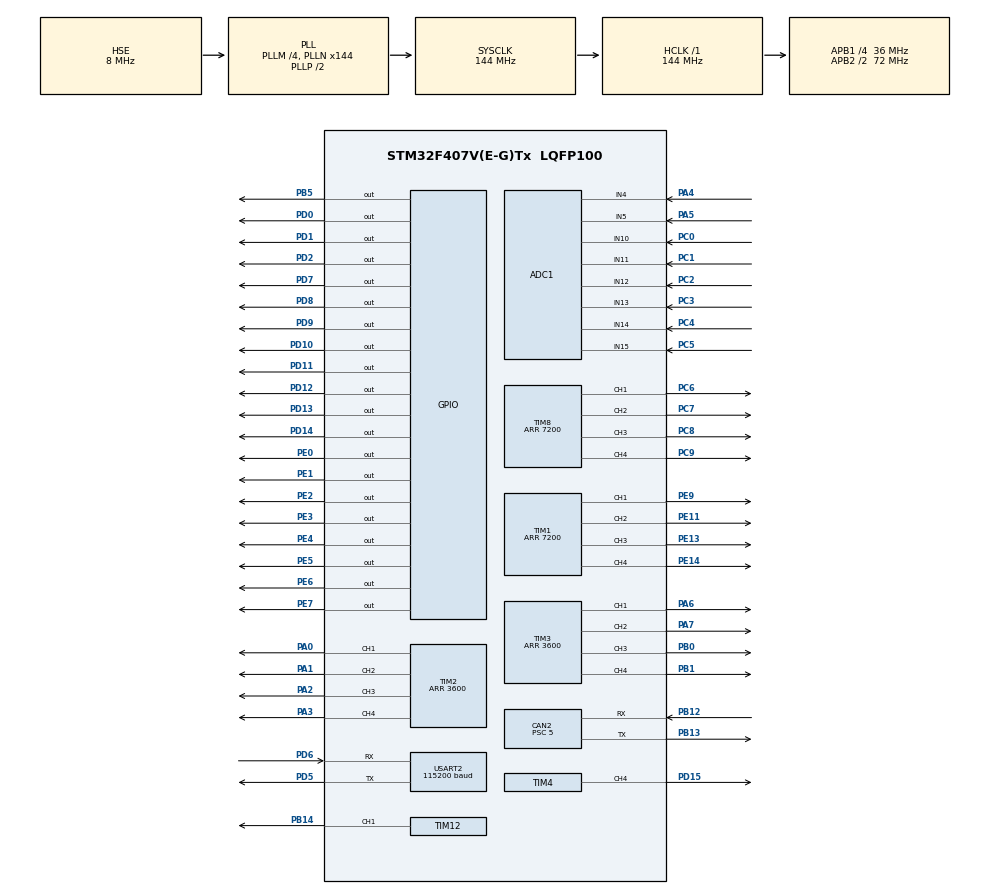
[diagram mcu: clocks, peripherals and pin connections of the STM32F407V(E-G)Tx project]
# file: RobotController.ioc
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PH0-OSC_IN.Signal=RCC_OSC_IN
SH.S_TIM1_CH4.0=TIM1_CH4,PWM Generation4 CH4
ADC1.SamplingTime-6\#ChannelRegularConversion=ADC_SAMPLETIME_3CYCLES
PE1.PinState=GPIO_PIN_SET
TIM8.Channel-PWM\ Generation4\ CH4=TIM_CHANNEL_4
PB13.Signal=CAN2_TX
TIM3.Channel-PWM\ Generation4\ CH4=TIM_CHANNEL_4
ADC1.Channel-8\#ChannelRegularConversion=ADC_CHANNEL_14
RCC.SYSCLKSource=RCC_SYSCLKSOURCE_PLLCLK
ADC1.Channel-5\#ChannelRegularConversion=ADC_CHANNEL_11
TIM2.Pulse-PWM\ Generation3\ CH3=0
TIM8.Pulse-PWM\ Generation4\ CH4=0
RCC.APB2TimFreq_Value=144000000
Dma.ADC1.0.Direction=DMA_PERIPH_TO_MEMORY
ADC1.Channel-2\#ChannelRegularConversion=ADC_CHANNEL_4
PC7.Signal=S_TIM8_CH2
ADC1.InjNumberOfConversion=0
Dma.USART2_TX.1.Mode=DMA_NORMAL
PC3.Signal=ADCx_IN13
PD0.Signal=GPIO_Output
PD8.Signal=GPIO_Output
PE5.Signal=GPIO_Output
PE1.Signal=GPIO_Output
Dma.ADC1.0.MemDataAlignment=DMA_MDATAALIGN_HALFWORD
TIM3.Pulse-PWM\ Generation3\ CH3=0
NVIC.TIM8_TRG_COM_TIM14_IRQn=true\:0\:0\:false\:false\:true\:false\:false\:true
ADC1.ScanConvMode=ENABLE
SH.ADCx_IN15.0=ADC1_IN15,IN15
TIM12.Period=4200
SH.S_TIM12_CH1.0=TIM12_CH1,PWM Generation1 CH1
TIM1.Channel-PWM\ Generation1\ CH1=TIM_CHANNEL_1
PE9.Signal=S_TIM1_CH1
Dma.USART2_TX.1.Instance=DMA1_Stream6
Dma.ADC1.0.PeriphInc=DMA_PINC_DISABLE
NVIC.TIM2_IRQn=true\:5\:0\:false\:false\:true\:true\:true\:true
PE5.PinState=GPIO_PIN_SET
PE2.Signal=GPIO_Output
TIM4.Period=1800
VP_SYS_VS_tim14.Mode=TIM14
VP_TIM1_VS_ClockSourceINT.Mode=Internal
PE6.PinState=GPIO_PIN_SET
Mcu.Package=LQFP100
PB1.Signal=S_TIM3_CH4
TIM8.Channel-PWM\ Generation3\ CH3=TIM_CHANNEL_3
SH.S_TIM8_CH4.0=TIM8_CH4,PWM Generation4 CH4
NVIC.TimeBase=TIM8_TRG_COM_TIM14_IRQn
SH.ADCx_IN14.0=ADC1_IN14,IN14
PD12.Signal=GPIO_Output
TIM8.Pulse-PWM\ Generation3\ CH3=0
NVIC.TimeBaseIP=TIM14
TIM2.Pulse-PWM\ Generation2\ CH2=0
RCC.APB2CLKDivider=RCC_HCLK_DIV2
RCC.APB1TimFreq_Value=72000000
Dma.ADC1.0.FIFOMode=DMA_FIFOMODE_DISABLE
TIM3.Pulse-PWM\ Generation2\ CH2=0
TIM1.Period=7200
PB13.Mode=CAN_Activate
TIM4.Channel-PWM\ Generation4\ CH4=TIM_CHANNEL_4
NVIC.DMA1_Stream6_IRQn=true\:5\:0\:false\:false\:true\:true\:false\:true
PD15.Signal=S_TIM4_CH4
ADC1.Rank-4\#ChannelRegularConversion=3
SH.S_TIM8_CH3.0=TIM8_CH3,PWM Generation3 CH3
CAN2.CalculateBaudRate=800000
NVIC.CAN2_TX_IRQn=true\:5\:0\:false\:false\:true\:true\:true\:true
Dma.ADC1.0.Instance=DMA2_Stream0
FREERTOS.Tasks01=defaultTask,24,128,StartDefaultTask,Default,NULL,Dynamic,NULL,NULL;UARTTx,8,128,StartUARTTx,Default,NULL,Dynamic,NULL,NULL;CANTask,8,128,CANEntry,Default,NULL,Dynamic,NULL,NULL;CfmPacket,8,128,StartCfmPacket,Default,NULL,Dynamic,NULL,NULL;PITask,24,128,StartTaskPI,Default,NULL,Dynamic,NULL,NULL
PD9.PinState=GPIO_PIN_SET
PC2.Signal=ADCx_IN12
PC6.Signal=S_TIM8_CH1
PD7.Signal=GPIO_Output
PD1.Signal=GPIO_Output
PE7.PinState=GPIO_PIN_SET
PC0.Signal=ADCx_IN10
RCC.APB1CLKDivider=RCC_HCLK_DIV4
PD6.Mode=Asynchronous
NVIC.CAN2_RX1_IRQn=true\:5\:0\:false\:false\:true\:true\:true\:true
USART2.BaudRate=115200
SH.S_TIM8_CH2.0=TIM8_CH2,PWM Generation2 CH2
PA0-WKUP.Signal=S_TIM2_CH1_ETR
ADC1.Channel-7\#ChannelRegularConversion=ADC_CHANNEL_13
PD10.Signal=GPIO_Output
TIM3.Channel-PWM\ Generation3\ CH3=TIM_CHANNEL_3
TIM3.Pulse-PWM\ Generation1\ CH1=0
Dma.ADC1.0.Priority=DMA_PRIORITY_LOW
TIM1.Channel-PWM\ Generation2\ CH2=TIM_CHANNEL_2
VP_TIM8_VS_ClockSourceINT.Mode=Internal
PB14.Signal=S_TIM12_CH1
PA5.Signal=ADCx_IN5
PD7.PinState=GPIO_PIN_SET
SH.S_TIM8_CH1.0=TIM8_CH1,PWM Generation1 CH1
TIM4.Pulse-PWM\ Generation4\ CH4=0
PE14.Signal=S_TIM1_CH4
CAN2.Mode=CAN_MODE_NORMAL
SH.ADCx_IN4.0=ADC1_IN4,IN4
TIM2.Period=3600
ADC1.Rank-9\#ChannelRegularConversion=8
TIM8.Period=7200
PA4.Signal=ADCx_IN4
PB5.Signal=GPIO_Output
ADC1.master=1
PD11.Signal=GPIO_Output
PD1.PinState=GPIO_PIN_SET
SH.S_TIM2_CH1_ETR.0=TIM2_CH1,PWM Generation1 CH1
ProjectManager.HeapSize=0x200
ADC1.SamplingTime-5\#ChannelRegularConversion=ADC_SAMPLETIME_3CYCLES
NVIC.TIM1_UP_TIM10_IRQn=true\:5\:0\:false\:false\:true\:true\:true\:true
VP_TIM4_VS_ClockSourceINT.Mode=Internal
SH.ADCx_IN5.0=ADC1_IN5,IN5
NVIC.PriorityGroup=NVIC_PRIORITYGROUP_4
TIM3.Channel-PWM\ Generation2\ CH2=TIM_CHANNEL_2
PE3.Signal=GPIO_Output
PE4.PinState=GPIO_PIN_SET
TIM2.Pulse-PWM\ Generation4\ CH4=0
ADC1.SamplingTime-9\#ChannelRegularConversion=ADC_SAMPLETIME_3CYCLES
Dma.USART2_TX.1.MemDataAlignment=DMA_MDATAALIGN_BYTE
TIM1.Channel-PWM\ Generation3\ CH3=TIM_CHANNEL_3
PD2.Signal=GPIO_Output
PB0.Signal=S_TIM3_CH3
ADC1.Rank-5\#ChannelRegularConversion=4
PC1.Signal=ADCx_IN11
Mcu.Family=STM32F4
RCC.CortexFreq_Value=144000000
FREERTOS.BinarySemaphores01=UARTTrmBinarySem,Dynamic,NULL
NVIC.CAN2_RX0_IRQn=true\:5\:0\:false\:false\:true\:true\:true\:true
ADC1.ContinuousConvMode=DISABLE
CAN2.CalculateTimeBit=1249.99
Dma.USART2_TX.1.MemInc=DMA_MINC_ENABLE
TIM8.Pulse-PWM\ Generation1\ CH1=0
TIM1.Pulse-PWM\ Generation1\ CH1=0
TIM2.Channel-PWM\ Generation2\ CH2=TIM_CHANNEL_2
PD11.PinState=GPIO_PIN_SET
ProjectManager.StackSize=0x400
VP_FREERTOS_VS_CMSIS_V2.Mode=CMSIS_V2
PD13.Signal=GPIO_Output
NVIC.ADC_IRQn=true\:5\:0\:false\:false\:true\:true\:true\:true
TIM1.Channel-PWM\ Generation4\ CH4=TIM_CHANNEL_4
ADC1.Channel-3\#ChannelRegularConversion=ADC_CHANNEL_5
RCC.HCLKFreq_Value=144000000
TIM8.Channel-PWM\ Generation1\ CH1=TIM_CHANNEL_1
TIM3.Period=3600
NVIC.DMA2_Stream0_IRQn=true\:5\:0\:false\:false\:true\:true\:false\:true
RCC.AHBFreq_Value=144000000
PH0-OSC_IN.Mode=HSE-External-Oscillator
PE3.PinState=GPIO_PIN_SET
PD5.Mode=Asynchronous
TIM3.Channel-PWM\ Generation1\ CH1=TIM_CHANNEL_1
RCC.HSE_VALUE=8000000
ADC1.SamplingTime-4\#ChannelRegularConversion=ADC_SAMPLETIME_3CYCLES
ADC1.Channel-6\#ChannelRegularConversion=ADC_CHANNEL_12
ADC1.Rank-2\#ChannelRegularConversion=1
PE13.Signal=S_TIM1_CH3
PD0.PinState=GPIO_PIN_SET
CAN2.Prescaler=5
VP_TIM12_VS_ClockSourceINT.Mode=Internal
TIM2.Channel-PWM\ Generation1\ CH1=TIM_CHANNEL_1
SH.S_TIM3_CH1.0=TIM3_CH1,PWM Generation1 CH1
PE4.Signal=GPIO_Output
PH1-OSC_OUT.Mode=HSE-External-Oscillator
TIM8.Pulse-PWM\ Generation2\ CH2=0
PA6.Signal=S_TIM3_CH1
PB12.Mode=CAN_Activate
CAN2.BS1=CAN_BS1_4TQ
CAN2.BS2=CAN_BS2_4TQ
TIM1.Pulse-PWM\ Generation2\ CH2=0
USART2.VirtualMode=VM_ASYNC
TIM8.Channel-PWM\ Generation2\ CH2=TIM_CHANNEL_2
Dma.Request1=USART2_TX
PC5.Signal=ADCx_IN15
PE7.Signal=GPIO_Output
PD6.Signal=USART2_RX
Dma.Request0=ADC1
ADC1.Rank-6\#ChannelRegularConversion=5
ADC1.SamplingTime-8\#ChannelRegularConversion=ADC_SAMPLETIME_3CYCLES
VP_TIM3_VS_ClockSourceINT.Mode=Internal
PA3.Signal=S_TIM2_CH4
RCC.PLLSourceVirtual=RCC_PLLSOURCE_HSE
Dma.USART2_TX.1.Priority=DMA_PRIORITY_LOW
TIM2.Channel-PWM\ Generation4\ CH4=TIM_CHANNEL_4
SH.ADCx_IN13.0=ADC1_IN13,IN13
ADC1.Channel-4\#ChannelRegularConversion=ADC_CHANNEL_10
Dma.USART2_TX.1.FIFOMode=DMA_FIFOMODE_DISABLE
PE2.PinState=GPIO_PIN_SET
SH.S_TIM4_CH4.0=TIM4_CH4,PWM Generation4 CH4
ADC1.Rank-8\#ChannelRegularConversion=7
PC8.Signal=S_TIM8_CH3
PC4.Signal=ADCx_IN14
PD9.Signal=GPIO_Output
PD5.Signal=USART2_TX
SH.S_TIM3_CH3.0=TIM3_CH3,PWM Generation3 CH3
Dma.USART2_TX.1.PeriphDataAlignment=DMA_PDATAALIGN_BYTE
NVIC.USART2_IRQn=true\:5\:0\:false\:false\:true\:true\:true\:true
ADC1.SamplingTime-2\#ChannelRegularConversion=ADC_SAMPLETIME_3CYCLES
TIM12.Pulse-PWM\ Generation1\ CH1=3000
TIM2.Pulse-PWM\ Generation1\ CH1=0
TIM1.Pulse-PWM\ Generation3\ CH3=0
SH.S_TIM2_CH2.0=TIM2_CH2,PWM Generation2 CH2
Dma.ADC1.0.PeriphDataAlignment=DMA_PDATAALIGN_HALFWORD
SH.ADCx_IN12.0=ADC1_IN12,IN12
PE0.PinState=GPIO_PIN_SET
SH.S_TIM1_CH1.0=TIM1_CH1,PWM Generation1 CH1
ProjectManager.TargetToolchain=STM32CubeIDE
Dma.ADC1.0.Mode=DMA_NORMAL
TIM4.Prescaler=10
PE11.Signal=S_TIM1_CH2
RCC.LSE_VALUE=32768
PA1.Signal=S_TIM2_CH2
SH.S_TIM3_CH2.0=TIM3_CH2,PWM Generation2 CH2
PD2.PinState=GPIO_PIN_SET
Dma.USART2_TX.1.PeriphInc=DMA_PINC_DISABLE
board=custom
RCC.VCOOutputFreq_Value=288000000
Dma.USART2_TX.1.Direction=DMA_MEMORY_TO_PERIPH
TIM12.Channel-PWM\ Generation1\ CH1=TIM_CHANNEL_1
RCC.APB2Freq_Value=72000000
SH.ADCx_IN11.0=ADC1_IN11,IN11
SH.S_TIM1_CH2.0=TIM1_CH2,PWM Generation2 CH2
VP_TIM2_VS_ClockSourceINT.Mode=Internal
SH.S_TIM2_CH3.0=TIM2_CH3,PWM Generation3 CH3
CAN2.CalculateTimeQuantum=138.88888888888889
TIM2.Channel-PWM\ Generation3\ CH3=TIM_CHANNEL_3
PH1-OSC_OUT.Signal=RCC_OSC_OUT
PE6.Signal=GPIO_Output
ADC1.NbrOfConversion=8
Mcu.Name=STM32F407V(E-G)Tx
PE0.Signal=GPIO_Output
PA2.Signal=S_TIM2_CH3
ADC1.Channel-9\#ChannelRegularConversion=ADC_CHANNEL_15
PD14.Signal=GPIO_Output
RCC.48MHZClocksFreq_Value=72000000
RCC.SYSCLKFreq_VALUE=144000000
ADC1.Rank-3\#ChannelRegularConversion=2
ADC1.SamplingTime-3\#ChannelRegularConversion=ADC_SAMPLETIME_3CYCLES
Dma.ADC1.0.MemInc=DMA_MINC_ENABLE
SH.ADCx_IN10.0=ADC1_IN10,IN10
SH.S_TIM2_CH4.0=TIM2_CH4,PWM Generation4 CH4
SH.S_TIM1_CH3.0=TIM1_CH3,PWM Generation3 CH3
TIM1.Pulse-PWM\ Generation4\ CH4=0
PD10.PinState=GPIO_PIN_SET
RCC.HSI_VALUE=16000000
ADC1.Rank-7\#ChannelRegularConversion=6
ADC1.NbrOfConversionFlag=1
RCC.PLLM=4
RCC.PLLN=144
PC9.Signal=S_TIM8_CH4
ADC1.SamplingTime-7\#ChannelRegularConversion=ADC_SAMPLETIME_3CYCLES
RCC.APB1Freq_Value=36000000
PD8.PinState=GPIO_PIN_SET
TIM3.Pulse-PWM\ Generation4\ CH4=0
PB12.Signal=CAN2_RX
SH.S_TIM3_CH4.0=TIM3_CH4,PWM Generation4 CH4
PA7.Signal=S_TIM3_CH2

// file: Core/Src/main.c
/* USER CODE BEGIN Header */
/**
 ******************************************************************************
 * @file           : main.c
 * @brief          : Main program body
 ******************************************************************************
 * @attention
 *
 * <h2><center>&copy; Copyright (c) 2021 STMicroelectronics.
 * All rights reserved.</center></h2>
 *
 * This software component is licensed by ST under BSD 3-Clause license,
 * the "License"; You may not use this file except in compliance with the
 * License. You may obtain a copy of the License at:
 *                        opensource.org/licenses/BSD-3-Clause
 *
 ******************************************************************************
 */
/* USER CODE END Header */
#include "main.h"
#include "cmsis_os.h"

ADC_HandleTypeDef hadc1;
DMA_HandleTypeDef hdma_adc1;

CAN_HandleTypeDef hcan2;

TIM_HandleTypeDef htim1;
TIM_HandleTypeDef htim2;
TIM_HandleTypeDef htim3;
TIM_HandleTypeDef htim4;
TIM_HandleTypeDef htim8;
TIM_HandleTypeDef htim12;

UART_HandleTypeDef huart2;
DMA_HandleTypeDef hdma_usart2_tx;

/* Definitions for defaultTask */
osThreadId_t defaultTaskHandle;
const osThreadAttr_t defaultTask_attributes = { .name = "defaultTask",
		.stack_size = 128 * 4, .priority = (osPriority_t) osPriorityNormal, };
/* Definitions for UARTTx */
osThreadId_t UARTTxHandle;
const osThreadAttr_t UARTTx_attributes = { .name = "UARTTx", .stack_size = 128
		* 4, .priority = (osPriority_t) osPriorityLow, };
/* Definitions for CANTask */
osThreadId_t CANTaskHandle;
const osThreadAttr_t CANTask_attributes = { .name = "CANTask", .stack_size = 128
		* 4, .priority = (osPriority_t) osPriorityLow, };
/* Definitions for CfmPacket */
osThreadId_t CfmPacketHandle;
const osThreadAttr_t CfmPacket_attributes = { .name = "CfmPacket", .stack_size =
		128 * 4, .priority = (osPriority_t) osPriorityLow, };
/* Definitions for PITask */
osThreadId_t PITaskHandle;
const osThreadAttr_t PITask_attributes = { .name = "PITask", .stack_size = 128
		* 4, .priority = (osPriority_t) osPriorityNormal, };
/* Definitions for UARTTrmBinarySem */
osSemaphoreId_t UARTTrmBinarySemHandle;
const osSemaphoreAttr_t UARTTrmBinarySem_attributes = { .name =
		"UARTTrmBinarySem" };
/* USER CODE BEGIN PV */
uint32_t adcResult;
uint16_t adcData[30];
uint8_t UART2TransmittArray[256];
uint8_t Tmp = 1;
float Tilt1X, Tilt1Y, Gyro1, Gyro1Y;
float Tilt2X, Tilt2Y, Gyro2, Gyro2Y;
float Tilt3X, Tilt3Y, Gyro3;
float Tilt4X, Tilt4Y, Gyro4;
float Tilt5X, Tilt5Y, Gyro5, Gyro5Y;
float Tilt6X, Tilt6Y, Gyro6;
float Tilt7X, Tilt7Y, Gyro7;
uint16_t KGyro1;
uint8_t Starting = 1;
/* USER CODE END PV */

void SystemClock_Config(void);
static void MX_GPIO_Init(void);
static void MX_DMA_Init(void);
static void MX_TIM1_Init(void);
static void MX_TIM2_Init(void);
static void MX_TIM3_Init(void);
static void MX_TIM8_Init(void);
static void MX_ADC1_Init(void);
static void MX_USART2_UART_Init(void);
static void MX_TIM12_Init(void);
static void MX_CAN2_Init(void);
static void MX_TIM4_Init(void);
void StartDefaultTask(void *argument);
void StartUARTTx(void *argument);
void CANEntry(void *argument);
void StartCfmPacket(void *argument);
void StartTaskPI(void *argument);

int main(void) {

	/* MCU Configuration--------------------------------------------------------*/

	/* Reset of all peripherals, Initializes the Flash interface and the Systick. */
	HAL_Init();

	/* Configure the system clock */
	SystemClock_Config();

	/* Initialize all configured peripherals */
	MX_GPIO_Init();
	MX_DMA_Init();
	MX_TIM1_Init();
	MX_TIM2_Init();
	MX_TIM3_Init();
	MX_TIM8_Init();
	MX_ADC1_Init();
	MX_USART2_UART_Init();
	MX_TIM12_Init();
	MX_CAN2_Init();
	MX_TIM4_Init();
	/* USER CODE BEGIN 2 */
	//HAL_GPIO_WritePin(GPIOD, GPIO_PIN_11,SET);
	PWM_Off();
	SetBuzzerFRQ(1000, 500);
	/* USER CODE END 2 */

	/* Init scheduler */
	osKernelInitialize();

	/* Create the semaphores(s) */
	/* creation of UARTTrmBinarySem */
	UARTTrmBinarySemHandle = osSemaphoreNew(1, 1, &UARTTrmBinarySem_attributes);

	/* Create the thread(s) */
	/* creation of defaultTask */
	defaultTaskHandle = osThreadNew(StartDefaultTask, NULL,
			&defaultTask_attributes);

	/* creation of UARTTx */
	UARTTxHandle = osThreadNew(StartUARTTx, NULL, &UARTTx_attributes);

	/* creation of CANTask */
	CANTaskHandle = osThreadNew(CANEntry, NULL, &CANTask_attributes);

	/* creation of CfmPacket */
	CfmPacketHandle = osThreadNew(StartCfmPacket, NULL, &CfmPacket_attributes);

	/* creation of PITask */
	PITaskHandle = osThreadNew(StartTaskPI, NULL, &PITask_attributes);

	/* Start scheduler */
	osKernelStart();

	/* We should never get here as control is now taken by the scheduler */
	/* Infinite loop */
	while (1) {

	}
}

void SystemClock_Config(void) {
	RCC_OscInitTypeDef RCC_OscInitStruct = { 0 };
	RCC_ClkInitTypeDef RCC_ClkInitStruct = { 0 };

	/** Configure the main internal regulator output voltage
	 */
	__HAL_RCC_PWR_CLK_ENABLE();
	__HAL_PWR_VOLTAGESCALING_CONFIG(PWR_REGULATOR_VOLTAGE_SCALE1);
	/** Initializes the RCC Oscillators according to the specified parameters
	 * in the RCC_OscInitTypeDef structure.
	 */
	RCC_OscInitStruct.OscillatorType = RCC_OSCILLATORTYPE_HSE;
	RCC_OscInitStruct.HSEState = RCC_HSE_ON;
	RCC_OscInitStruct.PLL.PLLState = RCC_PLL_ON;
	RCC_OscInitStruct.PLL.PLLSource = RCC_PLLSOURCE_HSE;
	RCC_OscInitStruct.PLL.PLLM = 4;
	RCC_OscInitStruct.PLL.PLLN = 144;
	RCC_OscInitStruct.PLL.PLLP = RCC_PLLP_DIV2;
	RCC_OscInitStruct.PLL.PLLQ = 4;
	if (HAL_RCC_OscConfig(&RCC_OscInitStruct) != HAL_OK) {
		Error_Handler();
	}
	/** Initializes the CPU, AHB and APB buses clocks
	 */
	RCC_ClkInitStruct.ClockType = RCC_CLOCKTYPE_HCLK | RCC_CLOCKTYPE_SYSCLK
			| RCC_CLOCKTYPE_PCLK1 | RCC_CLOCKTYPE_PCLK2;
	RCC_ClkInitStruct.SYSCLKSource = RCC_SYSCLKSOURCE_PLLCLK;
	RCC_ClkInitStruct.AHBCLKDivider = RCC_SYSCLK_DIV1;
	RCC_ClkInitStruct.APB1CLKDivider = RCC_HCLK_DIV4;
	RCC_ClkInitStruct.APB2CLKDivider = RCC_HCLK_DIV2;

	if (HAL_RCC_ClockConfig(&RCC_ClkInitStruct, FLASH_LATENCY_4) != HAL_OK) {
		Error_Handler();
	}
}

static void MX_ADC1_Init(void) {

	ADC_ChannelConfTypeDef sConfig = { 0 };

	/** Configure the global features of the ADC (Clock, Resolution, Data Alignment and number of conversion)
	 */
	hadc1.Instance = ADC1;
	hadc1.Init.ClockPrescaler = ADC_CLOCK_SYNC_PCLK_DIV2;
	hadc1.Init.Resolution = ADC_RESOLUTION_12B;
	hadc1.Init.ScanConvMode = ENABLE;
	hadc1.Init.ContinuousConvMode = DISABLE;
	hadc1.Init.DiscontinuousConvMode = DISABLE;
	hadc1.Init.ExternalTrigConvEdge = ADC_EXTERNALTRIGCONVEDGE_NONE;
	hadc1.Init.ExternalTrigConv = ADC_SOFTWARE_START;
	hadc1.Init.DataAlign = ADC_DATAALIGN_RIGHT;
	hadc1.Init.NbrOfConversion = 8;
	hadc1.Init.DMAContinuousRequests = DISABLE;
	hadc1.Init.EOCSelection = ADC_EOC_SINGLE_CONV;
	if (HAL_ADC_Init(&hadc1) != HAL_OK) {
		Error_Handler();
	}
	/** Configure for the selected ADC regular channel its corresponding rank in the sequencer and its sample time.
	 */
	sConfig.Channel = ADC_CHANNEL_4;
	sConfig.Rank = 1;
	sConfig.SamplingTime = ADC_SAMPLETIME_3CYCLES;
	if (HAL_ADC_ConfigChannel(&hadc1, &sConfig) != HAL_OK) {
		Error_Handler();
	}
	/** Configure for the selected ADC regular channel its corresponding rank in the sequencer and its sample time.
	 */
	sConfig.Channel = ADC_CHANNEL_5;
	sConfig.Rank = 2;
	if (HAL_ADC_ConfigChannel(&hadc1, &sConfig) != HAL_OK) {
		Error_Handler();
	}
	/** Configure for the selected ADC regular channel its corresponding rank in the sequencer and its sample time.
	 */
	sConfig.Channel = ADC_CHANNEL_10;
	sConfig.Rank = 3;
	if (HAL_ADC_ConfigChannel(&hadc1, &sConfig) != HAL_OK) {
		Error_Handler();
	}
	/** Configure for the selected ADC regular channel its corresponding rank in the sequencer and its sample time.
	 */
	sConfig.Channel = ADC_CHANNEL_11;
	sConfig.Rank = 4;
	if (HAL_ADC_ConfigChannel(&hadc1, &sConfig) != HAL_OK) {
		Error_Handler();
	}
	/** Configure for the selected ADC regular channel its corresponding rank in the sequencer and its sample time.
	 */
	sConfig.Channel = ADC_CHANNEL_12;
	sConfig.Rank = 5;
	if (HAL_ADC_ConfigChannel(&hadc1, &sConfig) != HAL_OK) {
		Error_Handler();
	}
	/** Configure for the selected ADC regular channel its corresponding rank in the sequencer and its sample time.
	 */
	sConfig.Channel = ADC_CHANNEL_13;
	sConfig.Rank = 6;
	if (HAL_ADC_ConfigChannel(&hadc1, &sConfig) != HAL_OK) {
		Error_Handler();
	}
	/** Configure for the selected ADC regular channel its corresponding rank in the sequencer and its sample time.
	 */
	sConfig.Channel = ADC_CHANNEL_14;
	sConfig.Rank = 7;
	if (HAL_ADC_ConfigChannel(&hadc1, &sConfig) != HAL_OK) {
		Error_Handler();
	}
	/** Configure for the selected ADC regular channel its corresponding rank in the sequencer and its sample time.
	 */
	sConfig.Channel = ADC_CHANNEL_15;
	sConfig.Rank = 8;
	if (HAL_ADC_ConfigChannel(&hadc1, &sConfig) != HAL_OK) {
		Error_Handler();
	}
	/* USER CODE BEGIN ADC1_Init 2 */
	hadc1.Instance->CR1 |= ADC_CR1_EOCIE;
	/* USER CODE END ADC1_Init 2 */

}

static void MX_CAN2_Init(void) {

	/* USER CODE BEGIN CAN2_Init 1 */
	//hcan2.Init.Mode = CAN_MODE_LOOPBACK;
	/* USER CODE END CAN2_Init 1 */
	hcan2.Instance = CAN2;
	hcan2.Init.Prescaler = 5;
	hcan2.Init.Mode = CAN_MODE_NORMAL;
	hcan2.Init.SyncJumpWidth = CAN_SJW_1TQ;
	hcan2.Init.TimeSeg1 = CAN_BS1_4TQ;
	hcan2.Init.TimeSeg2 = CAN_BS2_4TQ;
	hcan2.Init.TimeTriggeredMode = DISABLE;
	hcan2.Init.AutoBusOff = DISABLE;
	hcan2.Init.AutoWakeUp = DISABLE;
	hcan2.Init.AutoRetransmission = DISABLE;
	hcan2.Init.ReceiveFifoLocked = DISABLE;
	hcan2.Init.TransmitFifoPriority = DISABLE;
	if (HAL_CAN_Init(&hcan2) != HAL_OK) {
		Error_Handler();
	}
	/* USER CODE BEGIN CAN2_Init 2 */

	/*
	 CAN_FilterTypeDef canFilterConfig;
	 canFilterConfig.FilterBank = 0;
	 canFilterConfig.FilterMode = CAN_FILTERMODE_IDMASK;
	 canFilterConfig.FilterScale = CAN_FILTERSCALE_32BIT;
	 canFilterConfig.FilterIdHigh = 0x0300;
	 canFilterConfig.FilterIdLow = 0x0000;
	 canFilterConfig.FilterMaskIdHigh = 0x0000;
	 canFilterConfig.FilterMaskIdLow = 0x0000;
	 canFilterConfig.FilterFIFOAssignment = CAN_RX_FIFO1;
	 canFilterConfig.FilterActivation = ENABLE;
	 canFilterConfig.SlaveStartFilterBank = 14;
	 HAL_CAN_ConfigFilter(&hcan2, &canFilterConfig);

	 HAL_CAN_Start(&hcan2);
	 HAL_CAN_ActivateNotification(&hcan2, CAN_IT_RX_FIFO1_MSG_PENDING);
	 */

	CAN_Config(&hcan2, 0);

	/* USER CODE END CAN2_Init 2 */

}

static void MX_TIM1_Init(void) {

	TIM_ClockConfigTypeDef sClockSourceConfig = { 0 };
	TIM_MasterConfigTypeDef sMasterConfig = { 0 };
	TIM_OC_InitTypeDef sConfigOC = { 0 };
	TIM_BreakDeadTimeConfigTypeDef sBreakDeadTimeConfig = { 0 };

	htim1.Instance = TIM1;
	htim1.Init.Prescaler = 0;
	htim1.Init.CounterMode = TIM_COUNTERMODE_UP;
	htim1.Init.Period = 7200;
	htim1.Init.ClockDivision = TIM_CLOCKDIVISION_DIV1;
	htim1.Init.RepetitionCounter = 0;
	htim1.Init.AutoReloadPreload = TIM_AUTORELOAD_PRELOAD_DISABLE;
	if (HAL_TIM_Base_Init(&htim1) != HAL_OK) {
		Error_Handler();
	}
	sClockSourceConfig.ClockSource = TIM_CLOCKSOURCE_INTERNAL;
	if (HAL_TIM_ConfigClockSource(&htim1, &sClockSourceConfig) != HAL_OK) {
		Error_Handler();
	}
	if (HAL_TIM_PWM_Init(&htim1) != HAL_OK) {
		Error_Handler();
	}
	sMasterConfig.MasterOutputTrigger = TIM_TRGO_RESET;
	sMasterConfig.MasterSlaveMode = TIM_MASTERSLAVEMODE_DISABLE;
	if (HAL_TIMEx_MasterConfigSynchronization(&htim1, &sMasterConfig)
			!= HAL_OK) {
		Error_Handler();
	}
	sConfigOC.OCMode = TIM_OCMODE_PWM1;
	sConfigOC.Pulse = 0;
	sConfigOC.OCPolarity = TIM_OCPOLARITY_HIGH;
	sConfigOC.OCNPolarity = TIM_OCNPOLARITY_HIGH;
	sConfigOC.OCFastMode = TIM_OCFAST_DISABLE;
	sConfigOC.OCIdleState = TIM_OCIDLESTATE_RESET;
	sConfigOC.OCNIdleState = TIM_OCNIDLESTATE_RESET;
	if (HAL_TIM_PWM_ConfigChannel(&htim1, &sConfigOC, TIM_CHANNEL_1)
			!= HAL_OK) {
		Error_Handler();
	}
	if (HAL_TIM_PWM_ConfigChannel(&htim1, &sConfigOC, TIM_CHANNEL_2)
			!= HAL_OK) {
		Error_Handler();
	}
	if (HAL_TIM_PWM_ConfigChannel(&htim1, &sConfigOC, TIM_CHANNEL_3)
			!= HAL_OK) {
		Error_Handler();
	}
	if (HAL_TIM_PWM_ConfigChannel(&htim1, &sConfigOC, TIM_CHANNEL_4)
			!= HAL_OK) {
		Error_Handler();
	}
	sBreakDeadTimeConfig.OffStateRunMode = TIM_OSSR_DISABLE;
	sBreakDeadTimeConfig.OffStateIDLEMode = TIM_OSSI_DISABLE;
	sBreakDeadTimeConfig.LockLevel = TIM_LOCKLEVEL_OFF;
	sBreakDeadTimeConfig.DeadTime = 0;
	sBreakDeadTimeConfig.BreakState = TIM_BREAK_DISABLE;
	sBreakDeadTimeConfig.BreakPolarity = TIM_BREAKPOLARITY_HIGH;
	sBreakDeadTimeConfig.AutomaticOutput = TIM_AUTOMATICOUTPUT_DISABLE;
	if (HAL_TIMEx_ConfigBreakDeadTime(&htim1, &sBreakDeadTimeConfig)
			!= HAL_OK) {
		Error_Handler();
	}
	/* USER CODE BEGIN TIM1_Init 2 */

	// TIM1->CR1=0x1;
	htim1.Instance->CR1 |= TIM_CR1_CEN;
	htim1.Instance->BDTR |= TIM_BDTR_MOE;
	htim1.Instance->CCER |= TIM_CCER_CC1E;
	htim1.Instance->CCER |= TIM_CCER_CC2E;
	htim1.Instance->CCER |= TIM_CCER_CC3E;
	htim1.Instance->CCER |= TIM_CCER_CC4E;

	/* USER CODE END TIM1_Init 2 */
	HAL_TIM_MspPostInit(&htim1);

}

static void MX_TIM2_Init(void) {

	TIM_ClockConfigTypeDef sClockSourceConfig = { 0 };
	TIM_MasterConfigTypeDef sMasterConfig = { 0 };
	TIM_OC_InitTypeDef sConfigOC = { 0 };

	htim2.Instance = TIM2;
	htim2.Init.Prescaler = 0;
	htim2.Init.CounterMode = TIM_COUNTERMODE_UP;
	htim2.Init.Period = 3600;
	htim2.Init.ClockDivision = TIM_CLOCKDIVISION_DIV1;
	htim2.Init.AutoReloadPreload = TIM_AUTORELOAD_PRELOAD_DISABLE;
	if (HAL_TIM_Base_Init(&htim2) != HAL_OK) {
		Error_Handler();
	}
	sClockSourceConfig.ClockSource = TIM_CLOCKSOURCE_INTERNAL;
	if (HAL_TIM_ConfigClockSource(&htim2, &sClockSourceConfig) != HAL_OK) {
		Error_Handler();
	}
	if (HAL_TIM_PWM_Init(&htim2) != HAL_OK) {
		Error_Handler();
	}
	sMasterConfig.MasterOutputTrigger = TIM_TRGO_RESET;
	sMasterConfig.MasterSlaveMode = TIM_MASTERSLAVEMODE_DISABLE;
	if (HAL_TIMEx_MasterConfigSynchronization(&htim2, &sMasterConfig)
			!= HAL_OK) {
		Error_Handler();
	}
	sConfigOC.OCMode = TIM_OCMODE_PWM1;
	sConfigOC.Pulse = 0;
	sConfigOC.OCPolarity = TIM_OCPOLARITY_HIGH;
	sConfigOC.OCFastMode = TIM_OCFAST_DISABLE;
	if (HAL_TIM_PWM_ConfigChannel(&htim2, &sConfigOC, TIM_CHANNEL_1)
			!= HAL_OK) {
		Error_Handler();
	}
	if (HAL_TIM_PWM_ConfigChannel(&htim2, &sConfigOC, TIM_CHANNEL_2)
			!= HAL_OK) {
		Error_Handler();
	}
	if (HAL_TIM_PWM_ConfigChannel(&htim2, &sConfigOC, TIM_CHANNEL_3)
			!= HAL_OK) {
		Error_Handler();
	}
	if (HAL_TIM_PWM_ConfigChannel(&htim2, &sConfigOC, TIM_CHANNEL_4)
			!= HAL_OK) {
		Error_Handler();
	}
	/* USER CODE BEGIN TIM2_Init 2 */

	htim2.Instance->CR1 |= TIM_CR1_CEN;
	htim2.Instance->BDTR |= TIM_BDTR_MOE;
	htim2.Instance->CCER |= TIM_CCER_CC1E;
	htim2.Instance->CCER |= TIM_CCER_CC2E;
	htim2.Instance->CCER |= TIM_CCER_CC3E;
	htim2.Instance->CCER |= TIM_CCER_CC4E;

	/* USER CODE END TIM2_Init 2 */
	HAL_TIM_MspPostInit(&htim2);

}

static void MX_TIM3_Init(void) {

	TIM_ClockConfigTypeDef sClockSourceConfig = { 0 };
	TIM_MasterConfigTypeDef sMasterConfig = { 0 };
	TIM_OC_InitTypeDef sConfigOC = { 0 };

	htim3.Instance = TIM3;
	htim3.Init.Prescaler = 0;
	htim3.Init.CounterMode = TIM_COUNTERMODE_UP;
	htim3.Init.Period = 3600;
	htim3.Init.ClockDivision = TIM_CLOCKDIVISION_DIV1;
	htim3.Init.AutoReloadPreload = TIM_AUTORELOAD_PRELOAD_DISABLE;
	if (HAL_TIM_Base_Init(&htim3) != HAL_OK) {
		Error_Handler();
	}
	sClockSourceConfig.ClockSource = TIM_CLOCKSOURCE_INTERNAL;
	if (HAL_TIM_ConfigClockSource(&htim3, &sClockSourceConfig) != HAL_OK) {
		Error_Handler();
	}
	if (HAL_TIM_PWM_Init(&htim3) != HAL_OK) {
		Error_Handler();
	}
	sMasterConfig.MasterOutputTrigger = TIM_TRGO_RESET;
	sMasterConfig.MasterSlaveMode = TIM_MASTERSLAVEMODE_DISABLE;
	if (HAL_TIMEx_MasterConfigSynchronization(&htim3, &sMasterConfig)
			!= HAL_OK) {
		Error_Handler();
	}
	sConfigOC.OCMode = TIM_OCMODE_PWM1;
	sConfigOC.Pulse = 0;
	sConfigOC.OCPolarity = TIM_OCPOLARITY_HIGH;
	sConfigOC.OCFastMode = TIM_OCFAST_DISABLE;
	if (HAL_TIM_PWM_ConfigChannel(&htim3, &sConfigOC, TIM_CHANNEL_1)
			!= HAL_OK) {
		Error_Handler();
	}
	if (HAL_TIM_PWM_ConfigChannel(&htim3, &sConfigOC, TIM_CHANNEL_2)
			!= HAL_OK) {
		Error_Handler();
	}
	if (HAL_TIM_PWM_ConfigChannel(&htim3, &sConfigOC, TIM_CHANNEL_3)
			!= HAL_OK) {
		Error_Handler();
	}
	if (HAL_TIM_PWM_ConfigChannel(&htim3, &sConfigOC, TIM_CHANNEL_4)
			!= HAL_OK) {
		Error_Handler();
	}
	/* USER CODE BEGIN TIM3_Init 2 */
	htim3.Instance->CR1 |= TIM_CR1_CEN;
	htim3.Instance->BDTR |= TIM_BDTR_MOE;
	htim3.Instance->CCER |= TIM_CCER_CC1E;
	htim3.Instance->CCER |= TIM_CCER_CC2E;
	htim3.Instance->CCER |= TIM_CCER_CC3E;
	htim3.Instance->CCER |= TIM_CCER_CC4E;
	/* USER CODE END TIM3_Init 2 */
	HAL_TIM_MspPostInit(&htim3);

}

static void MX_TIM4_Init(void) {

	TIM_ClockConfigTypeDef sClockSourceConfig = { 0 };
	TIM_MasterConfigTypeDef sMasterConfig = { 0 };
	TIM_OC_InitTypeDef sConfigOC = { 0 };

	htim4.Instance = TIM4;
	htim4.Init.Prescaler = 10;
	htim4.Init.CounterMode = TIM_COUNTERMODE_UP;
	htim4.Init.Period = 1800;
	htim4.Init.ClockDivision = TIM_CLOCKDIVISION_DIV1;
	htim4.Init.AutoReloadPreload = TIM_AUTORELOAD_PRELOAD_DISABLE;
	if (HAL_TIM_Base_Init(&htim4) != HAL_OK) {
		Error_Handler();
	}
	sClockSourceConfig.ClockSource = TIM_CLOCKSOURCE_INTERNAL;
	if (HAL_TIM_ConfigClockSource(&htim4, &sClockSourceConfig) != HAL_OK) {
		Error_Handler();
	}
	if (HAL_TIM_PWM_Init(&htim4) != HAL_OK) {
		Error_Handler();
	}
	sMasterConfig.MasterOutputTrigger = TIM_TRGO_RESET;
	sMasterConfig.MasterSlaveMode = TIM_MASTERSLAVEMODE_DISABLE;
	if (HAL_TIMEx_MasterConfigSynchronization(&htim4, &sMasterConfig)
			!= HAL_OK) {
		Error_Handler();
	}
	sConfigOC.OCMode = TIM_OCMODE_PWM1;
	sConfigOC.Pulse = 0;
	sConfigOC.OCPolarity = TIM_OCPOLARITY_HIGH;
	sConfigOC.OCFastMode = TIM_OCFAST_DISABLE;
	if (HAL_TIM_PWM_ConfigChannel(&htim4, &sConfigOC, TIM_CHANNEL_4)
			!= HAL_OK) {
		Error_Handler();
	}
	/* USER CODE BEGIN TIM4_Init 2 */
	htim4.Instance->CR1 |= TIM_CR1_CEN;
	htim4.Instance->BDTR |= TIM_BDTR_MOE;
	// htim4.Instance->CCER|=TIM_CCER_CC1E;
	// htim4.Instance->CCER|=TIM_CCER_CC2E;
	// htim4.Instance->CCER|=TIM_CCER_CC3E;
	htim4.Instance->CCER |= TIM_CCER_CC4E;
	/* USER CODE END TIM4_Init 2 */
	HAL_TIM_MspPostInit(&htim4);

}

static void MX_TIM8_Init(void) {

	TIM_ClockConfigTypeDef sClockSourceConfig = { 0 };
	TIM_MasterConfigTypeDef sMasterConfig = { 0 };
	TIM_OC_InitTypeDef sConfigOC = { 0 };
	TIM_BreakDeadTimeConfigTypeDef sBreakDeadTimeConfig = { 0 };

	htim8.Instance = TIM8;
	htim8.Init.Prescaler = 0;
	htim8.Init.CounterMode = TIM_COUNTERMODE_UP;
	htim8.Init.Period = 7200;
	htim8.Init.ClockDivision = TIM_CLOCKDIVISION_DIV1;
	htim8.Init.RepetitionCounter = 0;
	htim8.Init.AutoReloadPreload = TIM_AUTORELOAD_PRELOAD_DISABLE;
	if (HAL_TIM_Base_Init(&htim8) != HAL_OK) {
		Error_Handler();
	}
	sClockSourceConfig.ClockSource = TIM_CLOCKSOURCE_INTERNAL;
	if (HAL_TIM_ConfigClockSource(&htim8, &sClockSourceConfig) != HAL_OK) {
		Error_Handler();
	}
	if (HAL_TIM_PWM_Init(&htim8) != HAL_OK) {
		Error_Handler();
	}
	sMasterConfig.MasterOutputTrigger = TIM_TRGO_RESET;
	sMasterConfig.MasterSlaveMode = TIM_MASTERSLAVEMODE_DISABLE;
	if (HAL_TIMEx_MasterConfigSynchronization(&htim8, &sMasterConfig)
			!= HAL_OK) {
		Error_Handler();
	}
	sConfigOC.OCMode = TIM_OCMODE_PWM1;
	sConfigOC.Pulse = 0;
	sConfigOC.OCPolarity = TIM_OCPOLARITY_HIGH;
	sConfigOC.OCNPolarity = TIM_OCNPOLARITY_HIGH;
	sConfigOC.OCFastMode = TIM_OCFAST_DISABLE;
	sConfigOC.OCIdleState = TIM_OCIDLESTATE_RESET;
	sConfigOC.OCNIdleState = TIM_OCNIDLESTATE_RESET;
	if (HAL_TIM_PWM_ConfigChannel(&htim8, &sConfigOC, TIM_CHANNEL_1)
			!= HAL_OK) {
		Error_Handler();
	}
	if (HAL_TIM_PWM_ConfigChannel(&htim8, &sConfigOC, TIM_CHANNEL_2)
			!= HAL_OK) {
		Error_Handler();
	}
	if (HAL_TIM_PWM_ConfigChannel(&htim8, &sConfigOC, TIM_CHANNEL_3)
			!= HAL_OK) {
		Error_Handler();
	}
	if (HAL_TIM_PWM_ConfigChannel(&htim8, &sConfigOC, TIM_CHANNEL_4)
			!= HAL_OK) {
		Error_Handler();
	}
	sBreakDeadTimeConfig.OffStateRunMode = TIM_OSSR_DISABLE;
	sBreakDeadTimeConfig.OffStateIDLEMode = TIM_OSSI_DISABLE;
	sBreakDeadTimeConfig.LockLevel = TIM_LOCKLEVEL_OFF;
	sBreakDeadTimeConfig.DeadTime = 0;
	sBreakDeadTimeConfig.BreakState = TIM_BREAK_DISABLE;
	sBreakDeadTimeConfig.BreakPolarity = TIM_BREAKPOLARITY_HIGH;
	sBreakDeadTimeConfig.AutomaticOutput = TIM_AUTOMATICOUTPUT_DISABLE;
	if (HAL_TIMEx_ConfigBreakDeadTime(&htim8, &sBreakDeadTimeConfig)
			!= HAL_OK) {
		Error_Handler();
	}
	/* USER CODE BEGIN TIM8_Init 2 */

	htim8.Instance->CR1 |= TIM_CR1_CEN;
	htim8.Instance->BDTR |= TIM_BDTR_MOE;
	htim8.Instance->CCER |= TIM_CCER_CC1E;
	htim8.Instance->CCER |= TIM_CCER_CC2E;
	htim8.Instance->CCER |= TIM_CCER_CC3E;
	htim8.Instance->CCER |= TIM_CCER_CC4E;
	/* USER CODE END TIM8_Init 2 */
	HAL_TIM_MspPostInit(&htim8);

}

static void MX_TIM12_Init(void) {

	TIM_ClockConfigTypeDef sClockSourceConfig = { 0 };
	TIM_OC_InitTypeDef sConfigOC = { 0 };

	htim12.Instance = TIM12;
	htim12.Init.Prescaler = 0;
	htim12.Init.CounterMode = TIM_COUNTERMODE_UP;
	htim12.Init.Period = 4200;
	htim12.Init.ClockDivision = TIM_CLOCKDIVISION_DIV1;
	htim12.Init.AutoReloadPreload = TIM_AUTORELOAD_PRELOAD_DISABLE;
	if (HAL_TIM_Base_Init(&htim12) != HAL_OK) {
		Error_Handler();
	}
	sClockSourceConfig.ClockSource = TIM_CLOCKSOURCE_INTERNAL;
	if (HAL_TIM_ConfigClockSource(&htim12, &sClockSourceConfig) != HAL_OK) {
		Error_Handler();
	}
	if (HAL_TIM_PWM_Init(&htim12) != HAL_OK) {
		Error_Handler();
	}
	sConfigOC.OCMode = TIM_OCMODE_PWM1;
	sConfigOC.Pulse = 3000;
	sConfigOC.OCPolarity = TIM_OCPOLARITY_HIGH;
	sConfigOC.OCFastMode = TIM_OCFAST_DISABLE;
	if (HAL_TIM_PWM_ConfigChannel(&htim12, &sConfigOC, TIM_CHANNEL_1)
			!= HAL_OK) {
		Error_Handler();
	}
	/* USER CODE BEGIN TIM12_Init 2 */
	htim12.Instance->CR1 |= TIM_CR1_CEN;
	htim12.Instance->BDTR |= TIM_BDTR_MOE;
	htim12.Instance->CCER |= TIM_CCER_CC1E;
	htim12.Instance->CCER |= TIM_CCER_CC2E;
	htim12.Instance->CCER |= TIM_CCER_CC3E;
	htim12.Instance->CCER |= TIM_CCER_CC4E;
	/* USER CODE END TIM12_Init 2 */
	HAL_TIM_MspPostInit(&htim12);

}

static void MX_USART2_UART_Init(void) {

	huart2.Instance = USART2;
	huart2.Init.BaudRate = 115200;
	huart2.Init.WordLength = UART_WORDLENGTH_8B;
	huart2.Init.StopBits = UART_STOPBITS_1;
	huart2.Init.Parity = UART_PARITY_NONE;
	huart2.Init.Mode = UART_MODE_TX_RX;
	huart2.Init.HwFlowCtl = UART_HWCONTROL_NONE;
	huart2.Init.OverSampling = UART_OVERSAMPLING_16;
	if (HAL_UART_Init(&huart2) != HAL_OK) {
		Error_Handler();
	}
	/* USER CODE BEGIN USART2_Init 2 */

	huart2.Instance->CR1 |= USART_CR1_RXNEIE;

	/* USER CODE END USART2_Init 2 */

}

static void MX_DMA_Init(void) {

	/* DMA controller clock enable */
	__HAL_RCC_DMA2_CLK_ENABLE();
	__HAL_RCC_DMA1_CLK_ENABLE();

	/* DMA interrupt init */
	/* DMA1_Stream6_IRQn interrupt configuration */
	HAL_NVIC_SetPriority(DMA1_Stream6_IRQn, 5, 0);
	HAL_NVIC_EnableIRQ(DMA1_Stream6_IRQn);
	/* DMA2_Stream0_IRQn interrupt configuration */
	HAL_NVIC_SetPriority(DMA2_Stream0_IRQn, 5, 0);
	HAL_NVIC_EnableIRQ(DMA2_Stream0_IRQn);

}

static void MX_GPIO_Init(void) {
	GPIO_InitTypeDef GPIO_InitStruct = { 0 };

	/* GPIO Ports Clock Enable */
	__HAL_RCC_GPIOE_CLK_ENABLE();
	__HAL_RCC_GPIOH_CLK_ENABLE();
	__HAL_RCC_GPIOC_CLK_ENABLE();
	__HAL_RCC_GPIOA_CLK_ENABLE();
	__HAL_RCC_GPIOB_CLK_ENABLE();
	__HAL_RCC_GPIOD_CLK_ENABLE();

	/*Configure GPIO pin Output Level */
	HAL_GPIO_WritePin(GPIOE,
			GPIO_PIN_2 | GPIO_PIN_3 | GPIO_PIN_4 | GPIO_PIN_5 | GPIO_PIN_6
					| GPIO_PIN_7 | GPIO_PIN_0 | GPIO_PIN_1, GPIO_PIN_SET);

	/*Configure GPIO pin Output Level */
	HAL_GPIO_WritePin(GPIOD,
			GPIO_PIN_8 | GPIO_PIN_9 | GPIO_PIN_10 | GPIO_PIN_11 | GPIO_PIN_0
					| GPIO_PIN_1 | GPIO_PIN_2 | GPIO_PIN_7, GPIO_PIN_SET);

	/*Configure GPIO pin Output Level */
	HAL_GPIO_WritePin(GPIOD, GPIO_PIN_12 | GPIO_PIN_13 | GPIO_PIN_14,
			GPIO_PIN_RESET);

	/*Configure GPIO pin Output Level */
	HAL_GPIO_WritePin(GPIOB, GPIO_PIN_5, GPIO_PIN_RESET);

	/*Configure GPIO pins : PE2 PE3 PE4 PE5
	 PE6 PE7 PE0 PE1 */
	GPIO_InitStruct.Pin = GPIO_PIN_2 | GPIO_PIN_3 | GPIO_PIN_4 | GPIO_PIN_5
			| GPIO_PIN_6 | GPIO_PIN_7 | GPIO_PIN_0 | GPIO_PIN_1;
	GPIO_InitStruct.Mode = GPIO_MODE_OUTPUT_PP;
	GPIO_InitStruct.Pull = GPIO_NOPULL;
	GPIO_InitStruct.Speed = GPIO_SPEED_FREQ_LOW;
	HAL_GPIO_Init(GPIOE, &GPIO_InitStruct);

	/*Configure GPIO pins : PD8 PD9 PD10 PD11
	 PD12 PD13 PD14 PD0
	 PD1 PD2 PD7 */
	GPIO_InitStruct.Pin = GPIO_PIN_8 | GPIO_PIN_9 | GPIO_PIN_10 | GPIO_PIN_11
			| GPIO_PIN_12 | GPIO_PIN_13 | GPIO_PIN_14 | GPIO_PIN_0 | GPIO_PIN_1
			| GPIO_PIN_2 | GPIO_PIN_7;
	GPIO_InitStruct.Mode = GPIO_MODE_OUTPUT_PP;
	GPIO_InitStruct.Pull = GPIO_NOPULL;
	GPIO_InitStruct.Speed = GPIO_SPEED_FREQ_LOW;
	HAL_GPIO_Init(GPIOD, &GPIO_InitStruct);

	/*Configure GPIO pin : PB5 */
	GPIO_InitStruct.Pin = GPIO_PIN_5;
	GPIO_InitStruct.Mode = GPIO_MODE_OUTPUT_PP;
	GPIO_InitStruct.Pull = GPIO_NOPULL;
	GPIO_InitStruct.Speed = GPIO_SPEED_FREQ_LOW;
	HAL_GPIO_Init(GPIOB, &GPIO_InitStruct);

}

/* USER CODE BEGIN 4 */

uint8_t CalcCheckSumm(uint16_t N, uint8_t *Array) {
	uint16_t Summ = 0, j;

	for (j = 0; j < N; j++)
		Summ = Summ + Array[j];

	Summ = ~Summ;

	return (unsigned char) Summ;

}

void HAL_ADC_ConvCpltCallback(ADC_HandleTypeDef *AdcHandle) {
	if (AdcHandle == &hadc1) {
		asm("Nop");
	}
}

void HAL_CAN_RxFifo0MsgPendingCallback(CAN_HandleTypeDef *hcan) {
	if (hcan->Instance == CAN2) {
		processCAN2Packet(hcan);
	}

}

/*

 void HAL_UART_RxCpltCallback(UART_HandleTypeDef *huart) {

 if(huart == &huart2) {

 ReceivePacketUART(&huart2);
 }
 }

 */
void HAL_UART_TxCpltCallback(UART_HandleTypeDef *huart) {

	if (huart == &huart2) {

		osSemaphoreRelease(UARTTrmBinarySemHandle);
	}
}

/* USER CODE END 4 */

void StartDefaultTask(void *argument) {
	/* USER CODE BEGIN 5 */
//	   HAL_ADC_Start_DMA(&hadc1, (uint32_t*)adcData, 8);
	/* Infinite loop */
	for (;;) {
		/*    HAL_ADC_Start(&hadc1);
		 HAL_ADC_PollForConversion(&hadc1, 100);
		 adcResult = HAL_ADC_GetValue(&hadc1);
		 HAL_ADC_Stop(&hadc1);
		 */
		HAL_ADC_Start_DMA(&hadc1, (uint32_t*) adcData, 8);
		//HAL_GPIO_WritePin(GPIOD, GPIO_PIN_15,SET);

		asm("Nop");

		osDelay(1);
	}
	/* USER CODE END 5 */
}

void StartUARTTx(void *argument) {
	/* USER CODE BEGIN StartUARTTx */
	osStatus_t stat;

	/* Infinite loop */
	for (;;) {
		if (Starting) {
			Starting = 0;
			osDelay(5000);
		} else {
			stat = osSemaphoreAcquire(UARTTrmBinarySemHandle, 0);
			if (stat == osOK) {
				TrmDataPacketUART(&huart2);
			} else
				asm("Nop");

			osDelay(10);
		}
	}
	/* USER CODE END StartUARTTx */
}

void CANEntry(void *argument) {
	/* USER CODE BEGIN CANEntry */
	/* Infinite loop */
	for (;;) {
		osDelay(100);
	}
	/* USER CODE END CANEntry */
}

void StartCfmPacket(void *argument) {
	/* USER CODE BEGIN StartCfmPacket */
	osStatus_t stat;

	/* Infinite loop */
	for (;;) {
		if (ConfirmCMD) {
			stat = osSemaphoreAcquire(UARTTrmBinarySemHandle, 0);
			if (stat == osOK) {
				ConfirmCMD = 0;
				TrmCfmPacketUART(&huart2);
			} else
				asm("Nop");
		}

		osDelay(1);
	}
	/* USER CODE END StartCfmPacket */
}

void StartTaskPI(void *argument) {
	/* USER CODE BEGIN StartTaskPI */
	/* Infinite loop */
	for (;;) {
		CntSamples++;

		CalculateAngles();

		osDelay(5);
	}
	/* USER CODE END StartTaskPI */
}

void HAL_TIM_PeriodElapsedCallback(TIM_HandleTypeDef *htim) {
	/* USER CODE BEGIN Callback 0 */
//	  if (htim->Instance == TIM14) {
	//   HAL_ADC_Start_DMA(&hadc1, (uint32_t*)adcData, 8);
	//}
	/* USER CODE END Callback 0 */
	if (htim->Instance == TIM14) {
		HAL_IncTick();
	}
	/* USER CODE BEGIN Callback 1 */
	if (htim->Instance == TIM14) {
		if (CntRxTimeOut) {
			CntRxTimeOut--;
			if (!CntRxTimeOut) {
				GettingPacketRx_FL = 0;
			}
		}
		if (BuzzerCnt) {
			BuzzerCnt--;
			if (!BuzzerCnt) {
				BuzzerOff();
			}
		}
	}

	/* USER CODE END Callback 1 */
}

void Error_Handler(void) {
	__disable_irq();
	while (1) {
	}
}

/************************ (C) COPYRIGHT STMicroelectronics *****END OF FILE****/
